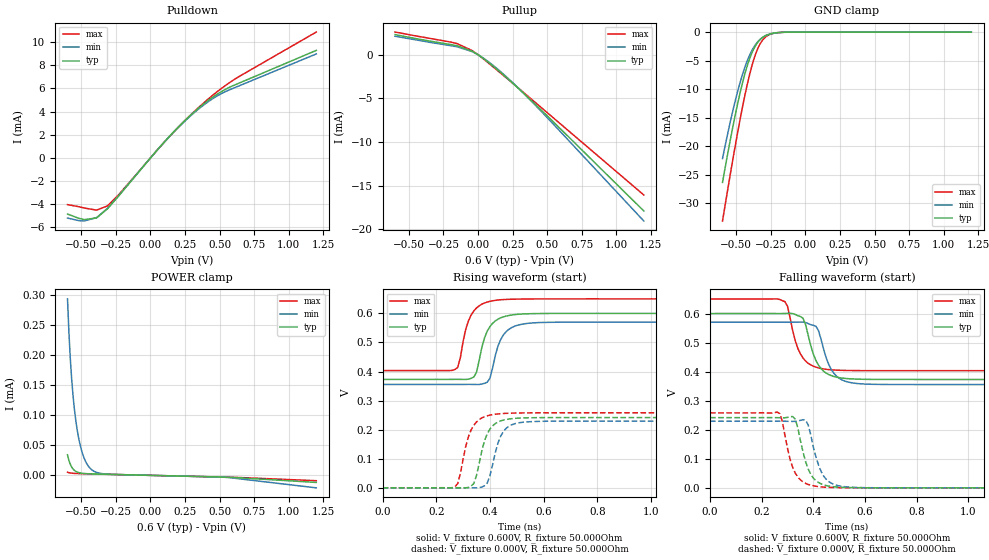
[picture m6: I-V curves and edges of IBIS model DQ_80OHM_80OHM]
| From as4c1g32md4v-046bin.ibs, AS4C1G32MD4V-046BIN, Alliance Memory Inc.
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|   MODEL: DQ_80OHM_80OHM
[Model]   DQ_80OHM_80OHM
Model_type   I/O
Polarity   Non-Inverting
Enable   Active-High
Vinl   = 0.080V
Vinh   = 0.220V
Vmeas   = 0.150V
Vref   = 0.150V
Cref   = 0.000pF
Rref   = 50.000Ohm
|   typ   min   max
C_comp   0.875pF   0.788pF   0.963pF
[Voltage Range]   0.600V   0.570V   0.650V
[Temperature Range]   25.0   95.0   -40.0
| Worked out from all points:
|   slope of the pulldown table from 0 to 0.09 V, typ, clamps not added: 72.4 ohm
|   slope of the pullup table from 0 to 0.09 V, typ, clamps not added: 85.1 ohm
|   GND clamp passes 1 mA (typ) near -0.31 V on its own axis
|   rising waveform, V_fixture 0.600V, R_fixture 50.000Ohm: 20-80 % time 44.9ps typ, 45.1ps min, 43.7ps max; typ from 0.373 V to 0.6 V
|   falling waveform, V_fixture 0.600V, R_fixture 50.000Ohm: 20-80 % time 51.4ps typ, 51.6ps min, 49.9ps max; typ from 0.6 V to 0.373 V
|   rising waveform, V_fixture 0.000V, R_fixture 50.000Ohm: 20-80 % time 43.2ps typ, 42.6ps min, 44.2ps max; typ from 0 V to 0.242 V
|   falling waveform, V_fixture 0.000V, R_fixture 50.000Ohm: 20-80 % time 46.1ps typ, 47.1ps min, 45ps max; typ from 0.242 V to 0 V
[Pulldown]
|   Voltage   I(typ)   I(min)   I(max)
-600mV    -4.841mA   -5.185mA   -4.029mA
-480mV    -5.321mA   -5.442mA   -4.316mA
-390mV    -5.18mA    -5.146mA   -4.505mA
-310mV    -4.381mA   -4.341mA   -4.135mA
-230mV    -3.282mA   -3.259mA   -3.174mA
30mV      422.9uA    418.3uA    415uA
130mV     1.768mA    1.747mA    1.748mA
270mV     3.464mA    3.411mA    3.472mA
400mV     4.799mA    4.699mA    4.903mA
490mV     5.554mA    5.401mA    5.785mA
580mV     6.142mA    5.92mA     6.562mA
1.2V      9.285mA    8.977mA    10.87mA
[Pullup]
|   Voltage   I(typ)   I(min)   I(max)
-600mV    2.295mA    2.104mA    2.587mA
-150mV    1.015mA    894.4uA    1.259mA
-40mV     380.4uA    335.1uA    449.9uA
70mV      -807.4uA   -742.4uA   -884.9uA
210mV     -2.672mA   -2.598mA   -2.723mA
400mV     -5.461mA   -5.538mA   -5.271mA
1.2V      -17.89mA   -19.03mA   -16.06mA
[GND Clamp]
|   Voltage   I(typ)   I(min)   I(max)
-600mV    -26.36mA   -22.19mA   -33.14mA
-550mV    -19.73mA   -16.43mA   -25.84mA
-510mV    -14.79mA   -12.27mA   -20.24mA
-470mV    -10.36mA   -8.615mA   -14.96mA
-430mV    -6.627mA   -5.609mA   -10.17mA
-390mV    -3.805mA   -3.349mA   -6.151mA
-360mV    -2.341mA   -2.151mA   -3.819mA
-320mV    -1.14mA    -1.122mA   -1.755mA
-280mV    -524.1uA   -555.5uA   -715.7uA
-230mV    -184.4uA   -215.6uA   -213.3uA
-140mV    -20.29uA   -29.99uA   -17.96uA
1.2V      6.836uA    7.386uA    6.714uA
[POWER Clamp]
|   Voltage   I(typ)   I(min)   I(max)
-600mV    34.27uA    294.1uA    5.169uA
-590mV    25uA       238.9uA    4.47uA
-570mV    13.84uA    160.6uA    3.674uA
-560mV    10.58uA    132.6uA    3.444uA
-540mV    6.655uA    91.24uA    3.146uA
-520mV    4.678uA    62.84uA    2.957uA
-490mV    3.339uA    35.2uA     2.748uA
-460mV    2.772uA    19.1uA     2.569uA
-420mV    2.39uA     8.47uA     2.342uA
-300mV    1.671uA    1.938uA    1.671uA
560mV     -3.13uA    -3.595uA   -3.086uA
1.2V      -11.8uA    -20.82uA   -8.926uA
[Ramp]
R_load = 50.000Ohm
|   typ   min   max
dV/dt_r   0.136V/50.000ps   0.129V/50.000ps   0.148V/40.000ps
dV/dt_f   0.136V/50.000ps   0.129V/50.000ps   0.148V/50.000ps
|Slew_r   2.725V/ns   2.574V/ns   3.702V/ns
|Slew_f   2.723V/ns   2.572V/ns   2.960V/ns
[Rising Waveform]
V_fixture = 0.600V
V_fixture_min = 0.570V
V_fixture_max = 0.650V
R_fixture = 50.000Ohm
L_fixture = 0.000nH
C_fixture = 0.000pF
|dV/dt_r   0.136V/50.000ps   0.129V/50.000ps   0.148V/40.000ps
|Slew_r   2.725V/ns   2.574V/ns   3.702V/ns
|   Time   V(typ)   V(min)   V(max)
0s        372.9mV    355.5mV    403.2mV
270ps     373mV      355.5mV    407.1mV
280ps     373.1mV    355.5mV    414.3mV
320ps     373.6mV    355.7mV    574.1mV
340ps     381mV      355.6mV    608.4mV
400ps     554.5mV    376.6mV    641.6mV
430ps     580.1mV    487.3mV    646.1mV
450ps     587.9mV    525.6mV    647.6mV
630ps     599.8mV    569.4mV    650mV
5ns       600mV      570mV      650mV
[Falling Waveform]
V_fixture = 0.600V
V_fixture_min = 0.570V
V_fixture_max = 0.650V
R_fixture = 50.000Ohm
L_fixture = 0.000nH
C_fixture = 0.000pF
|dV/dt_f   0.136V/50.000ps   0.129V/50.000ps   0.148V/50.000ps
|Slew_f   2.723V/ns   2.572V/ns   2.960V/ns
|   Time   V(typ)   V(min)   V(max)
0s        599.9mV    569.9mV    649.9mV
290ps     600.1mV    569.9mV    640.8mV
350ps     589.5mV    570.7mV    461mV
370ps     561.2mV    568.8mV    436.4mV
410ps     438.3mV    556.2mV    415.2mV
450ps     394.7mV    446.7mV    407.9mV
480ps     383.3mV    393.8mV    405.5mV
530ps     376.1mV    365.1mV    403.9mV
660ps     373.1mV    356mV      403.4mV
5ns       372.9mV    355.6mV    403.3mV
[Rising Waveform]
V_fixture = 0.000V
V_fixture_min = 0.000V
V_fixture_max = 0.000V
R_fixture = 50.000Ohm
L_fixture = 0.000nH
C_fixture = 0.000pF
|dV/dt_r   0.145V/40.000ps   0.138V/40.000ps   0.155V/40.000ps
|Slew_r   3.625V/ns   3.439V/ns   3.870V/ns
|   Time   V(typ)   V(min)   V(max)
0s        5.595uV    16.61uV    2.366uV
270ps     62.29uV    16.6uV     3.699mV
280ps     22.47uV    19.5uV     14.32mV
330ps     5.747mV    -116.9uV   198.9mV
350ps     41.85mV    -285.2uV   226.3mV
390ps     185.5mV    16.08mV    247.5mV
430ps     226.3mV    153.6mV    254.1mV
460ps     234.9mV    204mV      256.1mV
630ps     241.5mV    229.1mV    258mV
5ns       241.6mV    229.3mV    258mV
[Falling Waveform]
V_fixture = 0.000V
V_fixture_min = 0.000V
V_fixture_max = 0.000V
R_fixture = 50.000Ohm
L_fixture = 0.000nH
C_fixture = 0.000pF
|dV/dt_f   0.145V/40.000ps   0.138V/50.000ps   0.155V/40.000ps
|Slew_f   3.624V/ns   2.751V/ns   3.870V/ns
|   Time   V(typ)   V(min)   V(max)
0s        241.6mV    229.3mV    258mV
270ps     241.2mV    229.4mV    255.4mV
320ps     245.4mV    228.6mV    70.05mV
340ps     206.3mV    230.2mV    37.03mV
370ps     90.51mV    232.5mV    15.45mV
390ps     46.52mV    181.8mV    9.217mV
420ps     18.38mV    78.71mV    4.294mV
450ps     7.891mV    29.25mV    2.074mV
610ps     234.7uV    513.9uV    24.91uV
5ns       6.147uV    17.09uV    2.932uV
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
